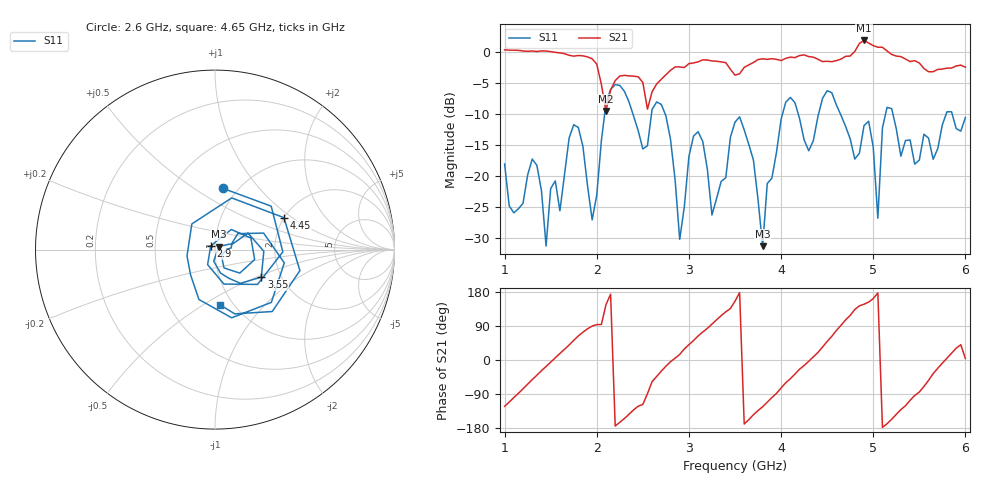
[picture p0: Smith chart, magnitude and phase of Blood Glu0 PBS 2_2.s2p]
! NanoVNA-App
! Date: 2024-03-20 21:09:40
! Start: 1GHz Stop: 6GHz Points: 101
! S-Parameter data: F S11 S21 S12 S22
# Hz S RI R 50
!	Frequency	S11_Real	S11_Imag	S21_Real	S21_Imag	S12_Real	S12_Imag	S22_Real	S22_Imag
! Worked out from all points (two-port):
!   101 points, 1 GHz to 6 GHz, reference 50 ohm
!   highest |S21| = 1.85 dB at 4.9 GHz (marker M1); lowest = -9.5 dB at 2.1 GHz (marker M2)
!   |S21| within 3 dB of the highest: start of sweep to 1.953 GHz; 4.65 GHz to 5.351 GHz (701.2 MHz wide, 14 % of centre)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
!   lowest |S11| = -31.3 dB at 3.8 GHz (marker M3), VSWR 1.06, Z = 52.2 + j1.75 ohm
!   |S11| at or under -10 dB: start of sweep to 2.086 GHz; 2.742 GHz to 4.016 GHz (1.273 GHz wide, 37.7 % of centre); 5.213 GHz to 5.791 GHz (577.9 MHz wide, 10.5 % of centre)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
!   S12 and S22 are empty: the file has one direction only
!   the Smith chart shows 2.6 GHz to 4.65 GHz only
!   S11 on the Smith chart (normalised r, x): 2.6 GHz: 0.86, +0.66; 2.9 GHz: 0.95, +0.04; 3.55 GHz: 1.59, -0.53; 4.45 GHz: 2.00, +0.87; 4.65 GHz: 0.87, -0.59
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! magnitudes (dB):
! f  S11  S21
! 1 GHz  -18.0  0.3
! 1.35 GHz  -18.3  0.1
! 1.45 GHz  -31.3  0.2
! 1.85 GHz  -15.2  -0.6
! 1.95 GHz  -27.0  -1.1
! 2.1 GHz  -8.3  -9.5
! 2.6 GHz  -9.3  -6.4
! 2.7 GHz  -8.4  -4.4
! 2.9 GHz  -30.2  -2.4
! 3.05 GHz  -13.5  -1.8
! 3.25 GHz  -26.3  -1.4
! 3.5 GHz  -11.3  -3.7
! 3.55 GHz  -10.5  -3.5
! 3.8 GHz  -31.3  -1.1
! 4.05 GHz  -8.1  -1.0
! 4.35 GHz  -14.3  -0.8
! 4.45 GHz  -7.5  -1.5
! 4.65 GHz  -10.2  -1.1
! 4.9 GHz  -11.9  1.9
! 5.05 GHz  -26.8  0.8
! 5.2 GHz  -9.1  -0.4
! 6 GHz  -10.6  -2.5
